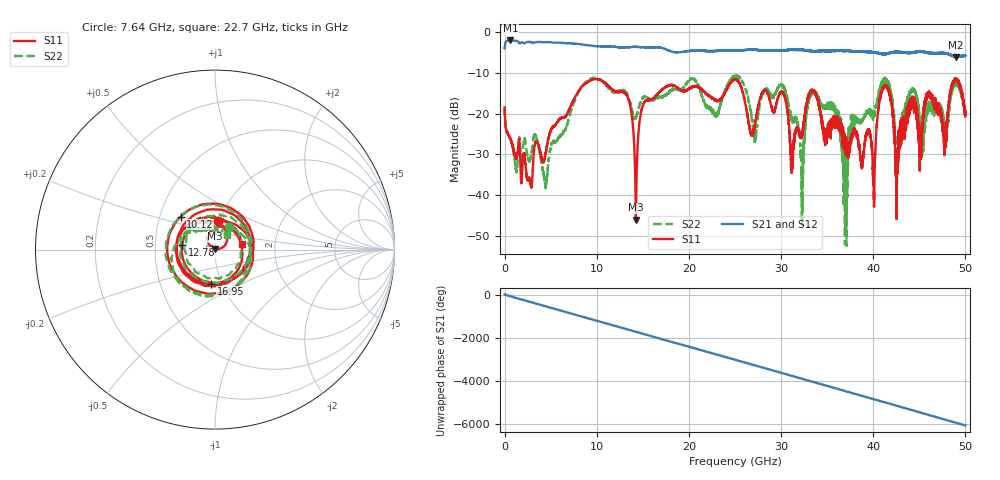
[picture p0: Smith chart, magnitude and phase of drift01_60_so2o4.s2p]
!Created with skrf (http://scikit-rf.org).
# Hz S RI R 50.0
!freq ReS11 ImS11 ReS21 ImS21 ReS12 ImS12 ReS22 ImS22
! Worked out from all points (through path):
!   10001 points, 300 kHz to 50 GHz, reference 50 ohm
!   highest |S21| = -2.00 dB at 625.3 MHz (marker M1); lowest = -6.0 dB at 48.98 GHz (marker M2)
!   group delay of S21, straight-line fit = 336 ps
!   lowest |S11| = -46.1 dB at 14.25 GHz (marker M3), VSWR 1.01, Z = 50 + j0.496 ohm
!   |S11| at or under -10 dB: start of sweep to end of sweep
!   |S22| runs from -52.6 to -10.6 dB; largest |S21 - S12| = 0.018
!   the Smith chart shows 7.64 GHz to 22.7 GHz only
!   S11 on the Smith chart (normalised r, x): 7.64 GHz: 0.98, +0.32; 10.12 GHz: 0.64, +0.25; 12.78 GHz: 0.69, +0.04; 16.95 GHz: 0.89, -0.35; 22.7 GHz: 1.35, +0.08
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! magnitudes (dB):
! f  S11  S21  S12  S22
! 300 kHz  -18.6  -4.0  -4.1  -18.2
! 625.3 MHz  -26.1  -2.0  -2.0  -26.2
! 4.44 GHz  -29.9  -2.4  -2.4  -38.1
! 7.64 GHz  -16.0  -2.8  -2.8  -16.6
! 8.335 GHz  -13.5  -2.9  -2.9  -13.5
! 10.12 GHz  -11.5  -3.4  -3.4  -11.4
! 12.78 GHz  -14.6  -3.7  -3.7  -14.3
! 14.25 GHz  -46.1  -3.6  -3.6  -21.1
! 16.67 GHz  -15.0  -3.7  -3.7  -15.9
! 16.95 GHz  -14.4  -3.8  -3.8  -15.7
! 22.7 GHz  -16.3  -4.6  -4.6  -19.3
! 25 GHz  -11.5  -4.5  -4.5  -10.9
! 27.17 GHz  -22.6  -4.3  -4.3  -26.2
! 30.22 GHz  -14.9  -4.5  -4.5  -13.5
! 32.28 GHz  -24.9  -4.3  -4.3  -47.9
! 33.34 GHz  -14.2  -4.6  -4.6  -14.7
! 37 GHz  -27.9  -4.5  -4.5  -38.1
! 40.05 GHz  -38.2  -4.9  -4.9  -19.8
! 41.67 GHz  -14.0  -5.0  -5.1  -13.4
! 42.6 GHz  -31.1  -4.8  -4.8  -31.6
! 48.98 GHz  -11.5  -6.0  -6.0  -12.6
! 50 GHz  -19.7  -5.8  -5.7  -19.3
